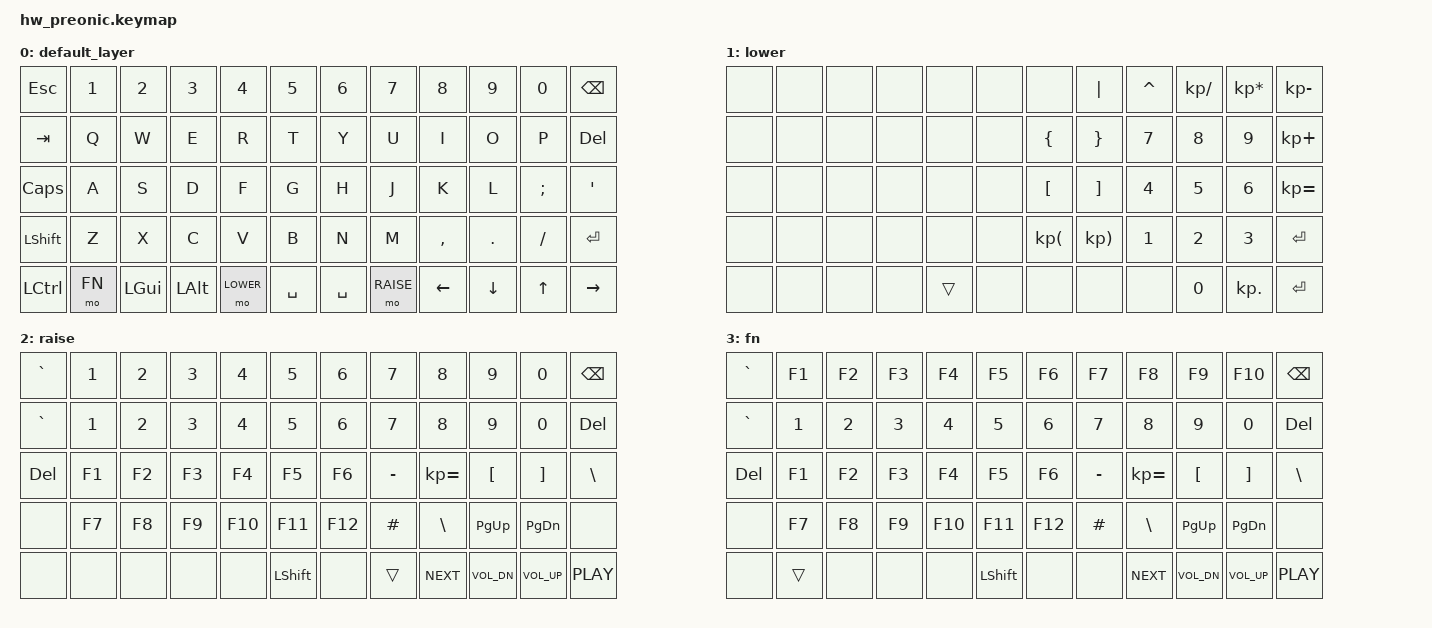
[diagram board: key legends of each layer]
/*
 * Copyright (c) 2022 The ZMK Contributors
 *
 * SPDX-License-Identifier: MIT
 */

#include <behaviors.dtsi>
#include <dt-bindings/zmk/keys.h>
#include <dt-bindings/zmk/bt.h>

#define DEFAULT 0
#define LOWER 1
#define RAISE 2
#define FN 3

/ {
    keymap {
        compatible = "zmk,keymap";
        default_layer {
            //  -------------------------------------------------------------------------------------------------
            // |  ESC  |  1   |  2   |  3   |  4    |  5     |   6     |  7     |  8   |  9    |   0   | BSPC   |
            // |  TAB  |  Q   |  W   |  E   |  R    |  T     |   Y     |  U     |  I   |  O    |   P   | DEL    |
            // | CAPS  |  A   |  S   |  D   |  F    |  G     |   H     |  J     |  K   |  L    |   ;   |  '     |
            // | SHIFT |  Z   |  X   |  C   |  V    |  B     |   N     |  M     |  ,   |  .    |   /   | RET    |
            // | LCTRL |  FN  | LGUI | LALT | LOWER | SPACE  |  SPACE  |  RAISE | LEFT |  DOWN |   UP  | RIGHT  |
            bindings = <
                &kp ESC     &kp N1     &kp N2    &kp N3    &kp N4     &kp N5     &kp N6     &kp N7     &kp N8     &kp N9    &kp N0     &kp BSPC
                &kp TAB     &kp Q      &kp W     &kp E     &kp R      &kp T      &kp Y      &kp U      &kp I      &kp O     &kp P      &kp DEL
                &kp CAPS    &kp A      &kp S     &kp D     &kp F      &kp G      &kp H      &kp J      &kp K      &kp L     &kp SEMI   &kp SQT
                &kp LSHIFT  &kp Z      &kp X     &kp C     &kp V      &kp B      &kp N      &kp M      &kp COMMA  &kp DOT   &kp SLASH  &kp RET
                &kp LCTRL   &mo FN     &kp LGUI  &kp LALT  &mo LOWER  &kp SPACE  &kp SPACE  &mo RAISE  &kp LEFT   &kp DOWN  &kp UP     &kp RIGHT
                >;
        };
        lower {
            // ------------------------------------------------------------------------------------------
            // |       |       |       |       |       |       |       |   |   |   ^  |   /   |   *   |   -   |
            // |       |       |       |       |       |       |   {   |   }   |   7  |   8   |   9   |   +   |
            // |       |       |       |       |       |       |   [   |   ]   |   4  |   5   |   6   |   =   |
            // |       |       |       |       |       |       |   (   |   )   |   1  |   2   |   3   |  RET  |
            // |       |       |       |       |       |       |       |       |      |   0   |   .   |  RET  |
            bindings = <
                &none   &none  &none  &none  &none  &none  &none         &kp PIPE      &kp CARET  &kp KP_SLASH  &kp KP_MULTIPLY    &kp KP_MINUS        
                &none   &none  &none  &none  &none  &none  &kp LBRC      &kp RBRC      &kp N7     &kp N8        &kp N9             &kp KP_PLUS    
                &none   &none  &none  &none  &none  &none  &kp LBKT      &kp RBKT      &kp N4     &kp N5        &kp N6             &kp KP_EQUAL   
                &none   &none  &none  &none  &none  &none  &kp KP_LPAR   &kp KP_RPAR   &kp N1     &kp N2        &kp N3             &kp RET   
                &none   &none  &none  &none  &trans &none  &none         &none         &none      &kp N0        &kp KP_DOT         &kp RET
                >;
        };
        raise {
            // -------------------------------------------------------------------------------------------
            // |   `   |  1   |  2   |  3   |  4   |   5   |   6   |   7   |   8  |  9   |   0   | BSPC  |
            // |   `   |  1   |  2   |  3   |  4   |   5   |   6   |   7   |   8  |  9   |   0   | DEL   |
            // |  DEL  |  F1  |  F2  |  F3  |  F4  |  F5   |  F6   |   -   |   =  |  [   |   ]   |  \    |
            // |       |  F7  |  F8  |  F9  |  F10 |  F11  |  F12  |   #   |   \  | PGUP |  PGDN |       |
            // |       |      |      |      |      | SHIFT |       |       | NEXT | VOL- |  VOL+ | PLAY  |
            bindings = <
                &kp GRAVE  &kp N1  &kp N2  &kp N3  &kp N4   &kp N5      &kp N6   &kp N7     &kp N8        &kp N9            &kp N0             &kp BSPC
                &kp GRAVE  &kp N1  &kp N2  &kp N3  &kp N4   &kp N5      &kp N6   &kp N7     &kp N8        &kp N9            &kp N0             &kp DEL
                &kp DEL    &kp F1  &kp F2  &kp F3  &kp F4   &kp F5      &kp F6   &kp MINUS  &kp KP_EQUAL  &kp LEFT_BRACKET  &kp RIGHT_BRACKET  &kp BSLH
                &none      &kp F7  &kp F8  &kp F9  &kp F10  &kp F11     &kp F12  &kp HASH   &kp BSLH      &kp PG_UP         &kp PG_DN          &none
                &none      &none   &none   &none   &none    &kp LSHIFT  &none    &trans     &kp C_NEXT    &kp C_VOL_DN      &kp C_VOL_UP       &kp C_PLAY
                >;
        };
        fn {
            // -------------------------------------------------------------------------------------------
            // |   `   |  1   |  2   |  3   |  4   |   5   |   6   |   7   |   8  |  9   |   0   | BSPC  |
            // |   `   |  1   |  2   |  3   |  4   |   5   |   6   |   7   |   8  |  9   |   0   | DEL   |
            // |  DEL  |  F1  |  F2  |  F3  |  F4  |  F5   |  F6   |   -   |   =  |  [   |   ]   |  \    |
            // |       |  F7  |  F8  |  F9  |  F10 |  F11  |  F12  |   #   |   \  | PGUP |  PGDN |       |
            // |       |      |      |      |      | SHIFT |       |       | NEXT | VOL- |  VOL+ | PLAY  |
            bindings = <
                &kp GRAVE  &kp F1  &kp F2  &kp F3  &kp F4   &kp F5      &kp F6   &kp F7     &kp F8        &kp F9            &kp F10            &kp BSPC
                &kp GRAVE  &kp N1  &kp N2  &kp N3  &kp N4   &kp N5      &kp N6   &kp N7     &kp N8        &kp N9            &kp N0             &kp DEL
                &kp DEL    &kp F1  &kp F2  &kp F3  &kp F4   &kp F5      &kp F6   &kp MINUS  &kp KP_EQUAL  &kp LEFT_BRACKET  &kp RIGHT_BRACKET  &kp BSLH
                &none      &kp F7  &kp F8  &kp F9  &kp F10  &kp F11     &kp F12  &kp HASH   &kp BSLH      &kp PG_UP         &kp PG_DN          &none
                &none      &trans  &none   &none   &none    &kp LSHIFT  &none    &none      &kp C_NEXT    &kp C_VOL_DN      &kp C_VOL_UP       &kp C_PLAY
                >;
        };
    };
};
